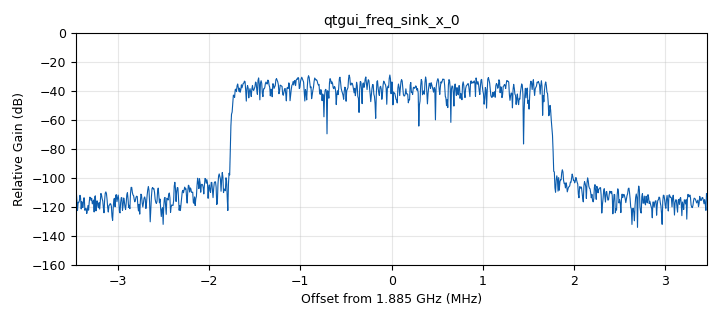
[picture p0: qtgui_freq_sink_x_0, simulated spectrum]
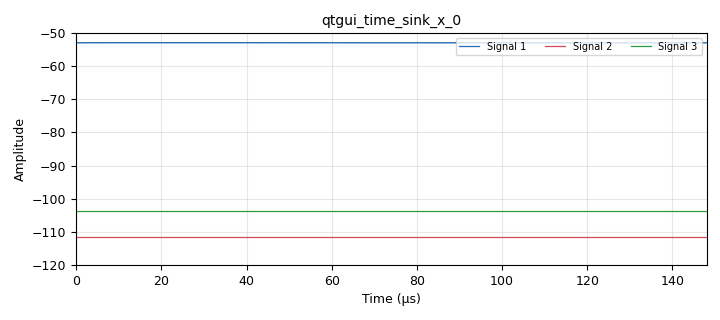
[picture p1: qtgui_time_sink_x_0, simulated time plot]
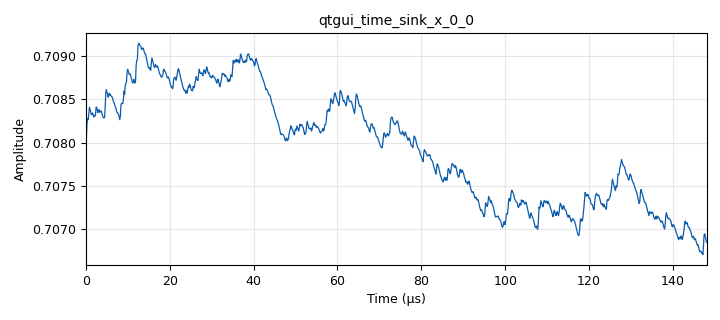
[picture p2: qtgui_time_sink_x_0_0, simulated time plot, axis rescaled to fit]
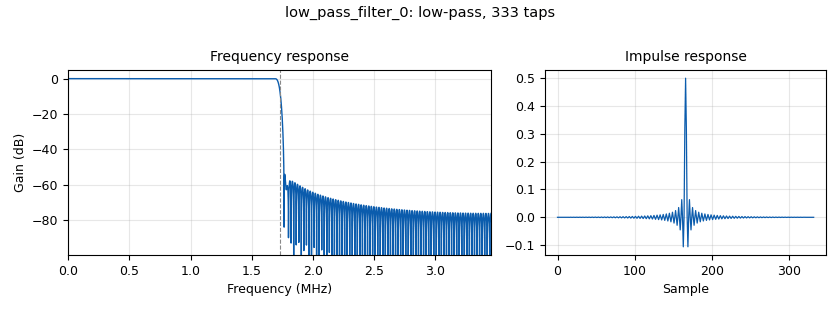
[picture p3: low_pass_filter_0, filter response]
options:
  parameters:
    author: Maxim Penner
    generate_options: qt_gui
    id: usrp_calibration_rms
    output_language: python
    title: usrp_calibration_rms
  states: {}

blocks:
- name: bandwidth
  id: variable
  parameters:
    value: '1728000'
  states: {}
- name: fac
  id: variable_qtgui_range
  parameters:
    start: '0'
    step: '0.00001'
    stop: '10'
    value: '1.0'
  states: {}
- name: freq
  id: variable_qtgui_range
  parameters:
    start: 100e6
    step: 100e6
    stop: 4.6e9
    value: 4.5e9
  states: {}
- name: gain
  id: variable_qtgui_range
  parameters:
    start: '0'
    step: '5'
    stop: '100'
    value: '50'
  states: {}
- name: noise_figure_dB
  id: variable
  parameters:
    value: '8'
  states: {}
- name: rx_power_0dBFS_dBm
  id: variable
  parameters:
    value: '-50.0'
  states: {}
- name: samp_rate
  id: variable
  parameters:
    value: 1728000*4
  states: {}
- name: analog_const_source_x_0
  id: analog_const_source_x
  parameters:
    const: fac
    type: complex
  states: {}
- name: analog_const_source_x_0_0
  id: analog_const_source_x
  parameters:
    const: rx_power_0dBFS_dBm
    type: float
  states: {}
- name: analog_const_source_x_0_0_0
  id: analog_const_source_x
  parameters:
    const: '-174'
    type: float
  states: {}
- name: analog_const_source_x_0_0_0_0
  id: analog_const_source_x
  parameters:
    const: noise_figure_dB
    type: float
  states: {}
- name: analog_const_source_x_0_0_1
  id: analog_const_source_x
  parameters:
    const: bandwidth
    type: float
  states: {}
- name: analog_noise_source_x_0
  id: analog_noise_source_x
  parameters:
    amp: '1'
    noise_type: analog.GR_GAUSSIAN
    seed: '0'
    type: complex
  states: {}
- name: blocks_add_xx_0
  id: blocks_add_xx
  parameters:
    type: float
  states: {}
- name: blocks_add_xx_0_0
  id: blocks_add_xx
  parameters:
    type: float
  states: {}
- name: blocks_add_xx_0_0_0
  id: blocks_add_xx
  parameters:
    type: float
  states: {}
- name: blocks_complex_to_float_0
  id: blocks_complex_to_float
  parameters: {}
  states: {state: disabled}
- name: blocks_multiply_xx_0
  id: blocks_multiply_xx
  parameters:
    type: complex
  states: {}
- name: blocks_multiply_xx_1
  id: blocks_multiply_xx
  parameters:
    type: float
  states: {}
- name: blocks_nlog10_ff_0
  id: blocks_nlog10_ff
  parameters:
    k: '0'
    n: '10'
  states: {}
- name: blocks_nlog10_ff_0_0
  id: blocks_nlog10_ff
  parameters:
    k: '0'
    n: '10'
  states: {}
- name: blocks_rms_xx_0
  id: blocks_rms_xx
  parameters:
    alpha: '0.0001'
    type: complex
  states: {}
- name: blocks_throttle_0
  id: blocks_throttle
  parameters:
    samples_per_second: '64000'
    type: complex
  states: {}
- name: low_pass_filter_0
  id: low_pass_filter
  parameters:
    cutoff_freq: bandwidth
    decim: '1'
    gain: '1'
    samp_rate: samp_rate
    type: fir_filter_ccf
    width: 50e3
    win: window.WIN_HAMMING
  states: {}
- name: note_0
  id: note
  parameters:
    comment: |-
      Calibration: Use high quality cables

      1.1) Set a 1.9Ghz frequency.
      1.2) Connect calibrated signal generator to SDR.
      1.3) Set fixed input power and wait for 3dB power gain.
      	-> noise floor is now known
      2.1) Connect NRF9161 to spectrum analyzer.
      2.2) Calibrate power for all NRF9161 power settings.
      	-> transmit power of NRF9161 is now known

      Measurement: Use the exact same cables as above

      1.1) Connect NRF9161 to SDR.
      1.2) Set highest power. Set first MCS.
      1.3) Send 1000 packets and measure PER at SDR.
      1.4) Reduce power and repeat.
      1.5) Set next MCS.
    note: PER test with NRF9161 at low noise
  states: {}
- name: qtgui_freq_sink_x_0
  id: qtgui_freq_sink_x
  parameters:
    bw: samp_rate
    fc: 1885.0e6
    fftsize: '1024'
    grid: 'True'
    type: complex
    ymax: '0'
    ymin: '-160'
  states: {}
- name: qtgui_histogram_sink_x_0
  id: qtgui_histogram_sink_x
  parameters:
    accum: 'True'
    bins: '100'
    grid: 'True'
    nconnections: '2'
    size: '1024'
    type: float
    xmax: '5'
    xmin: '-5'
  states: {state: disabled}
- name: qtgui_time_sink_x_0
  id: qtgui_time_sink_x
  parameters:
    grid: 'True'
    nconnections: '3'
    size: '1024'
    srate: samp_rate
    type: float
    ymax: rx_power_0dBFS_dBm
    ymin: '-120'
  states: {}
- name: qtgui_time_sink_x_0_0
  id: qtgui_time_sink_x
  parameters:
    grid: 'True'
    size: '1024'
    srate: samp_rate
    type: float
    ymax: '2'
  states: {}
- name: uhd_usrp_source_0
  id: uhd_usrp_source
  parameters:
    ant0: '"RX2"'
    center_freq0: freq
    dev_addr: masterclock
    gain0: gain
    samp_rate: samp_rate
    sync: sync
    type: fc32
  states: {state: disabled}

connections:
- [analog_const_source_x_0, '0', blocks_multiply_xx_0, '1']
- [analog_const_source_x_0_0, '0', blocks_add_xx_0, '1']
- [analog_const_source_x_0_0_0, '0', blocks_add_xx_0_0, '0']
- [analog_const_source_x_0_0_0_0, '0', blocks_add_xx_0_0_0, '1']
- [analog_const_source_x_0_0_1, '0', blocks_nlog10_ff_0_0, '0']
- [analog_noise_source_x_0, '0', blocks_multiply_xx_0, '0']
- [blocks_add_xx_0, '0', qtgui_time_sink_x_0, '0']
- [blocks_add_xx_0_0, '0', blocks_add_xx_0_0_0, '0']
- [blocks_add_xx_0_0, '0', qtgui_time_sink_x_0, '1']
- [blocks_add_xx_0_0_0, '0', qtgui_time_sink_x_0, '2']
- [blocks_complex_to_float_0, '0', qtgui_histogram_sink_x_0, '0']
- [blocks_complex_to_float_0, '1', qtgui_histogram_sink_x_0, '1']
- [blocks_multiply_xx_0, '0', blocks_throttle_0, '0']
- [blocks_multiply_xx_1, '0', blocks_nlog10_ff_0, '0']
- [blocks_nlog10_ff_0, '0', blocks_add_xx_0, '0']
- [blocks_nlog10_ff_0_0, '0', blocks_add_xx_0_0, '1']
- [blocks_rms_xx_0, '0', blocks_multiply_xx_1, '0']
- [blocks_rms_xx_0, '0', blocks_multiply_xx_1, '1']
- [blocks_rms_xx_0, '0', qtgui_time_sink_x_0_0, '0']
- [blocks_throttle_0, '0', blocks_complex_to_float_0, '0']
- [blocks_throttle_0, '0', low_pass_filter_0, '0']
- [low_pass_filter_0, '0', blocks_rms_xx_0, '0']
- [low_pass_filter_0, '0', qtgui_freq_sink_x_0, '0']
- [uhd_usrp_source_0, '0', low_pass_filter_0, '0']

metadata:
  file_format: 1
  grc_version: 3.10.9.2
